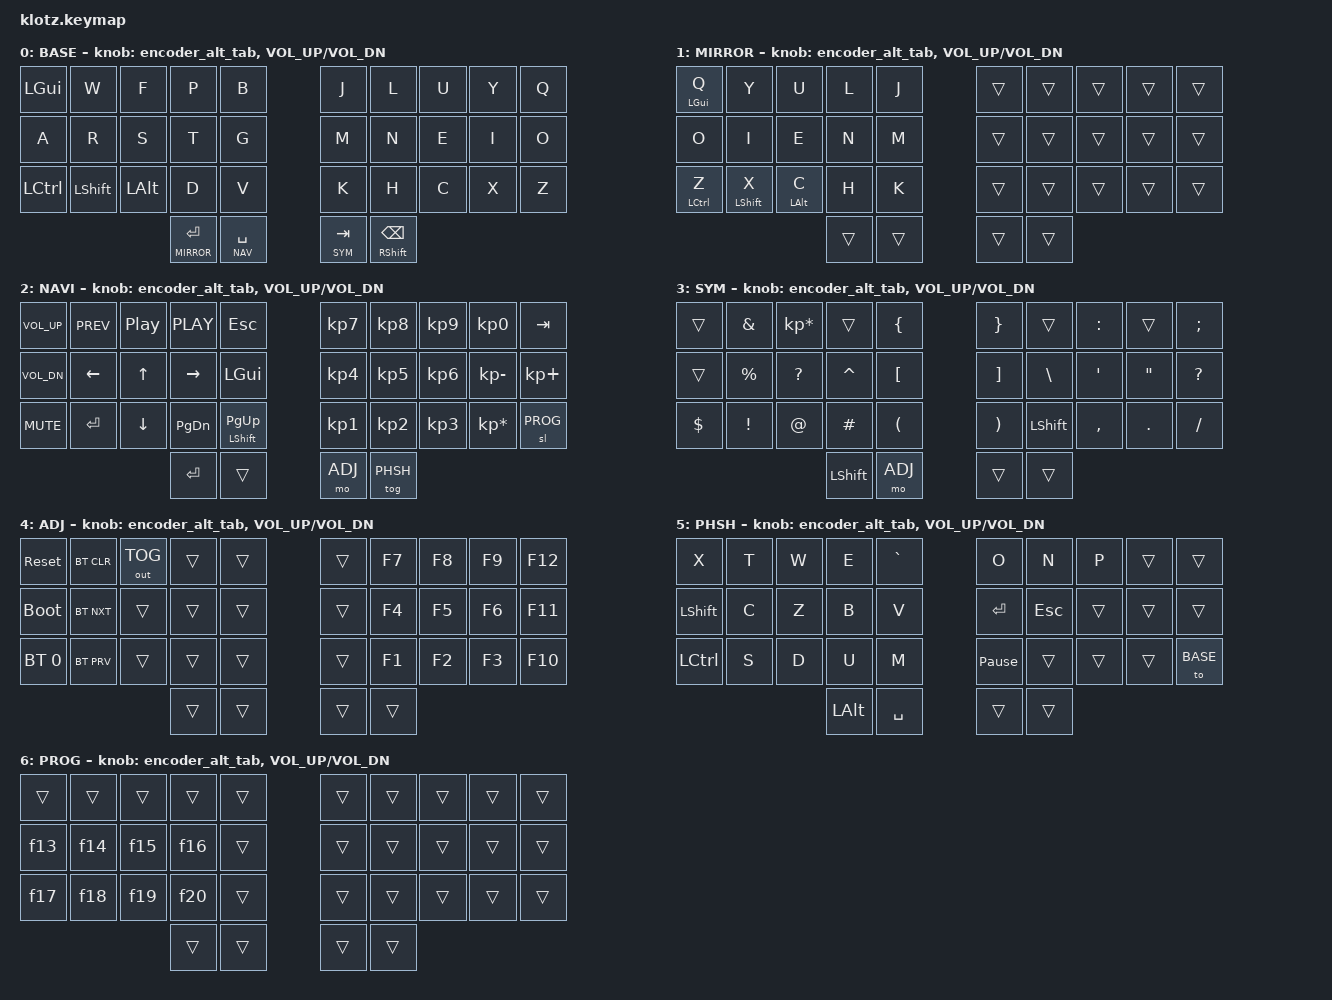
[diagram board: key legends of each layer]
#include <behaviors.dtsi>
#include <dt-bindings/zmk/keys.h>
#include <dt-bindings/zmk/bt.h>
#include <dt-bindings/zmk/outputs.h>

#define BASE 0
#define MIRROR 1
#define NAV  2
#define SYM  3
#define ADJ  4
#define PHSH 5
#define PROG 6

/ {
    combos {
            compatible = "zmk,combos";
            combo_esc {
                timeout-ms = <50>;
                key-positions = <0 1>;
                bindings = <&kp ESC>;
            };
            
            compatible = "zmk,combos";
            combo_bspc {
                timeout-ms = <50>;
                key-positions = <3 4>;
                bindings = <&kp BSPC>;
            };

            compatible = "zmk,combos";
            combo_del {
                timeout-ms = <50>;
                key-positions = <2 3>;
                bindings = <&kp DEL>;
            };

            compatible = "zmk,combos";
            combo_ctrlz {
                timeout-ms = <50>;
                key-positions = <20 21>;
                bindings
                  = <&macro_crtlz>;
            };

            compatible = "zmk,combos";
            combo_ctrlshftz {
                timeout-ms = <50>;
                key-positions = <20 21 22>;
                bindings
                  = <&macro_crtlshftz>;
            };

            compatible = "zmk,combos";
            combo_ctrlx {
                timeout-ms = <50>;
                key-positions = <21 22>;
                bindings
                  = <&macro_crtlx>;
            };

            compatible = "zmk,combos";
            combo_ctrlc {
                timeout-ms = <50>;
                key-positions = <22 23>;
                bindings
                  = <&macro_crtlc>;
            };

            compatible = "zmk,combos";
            combo_ctrlv {
                timeout-ms = <50>;
                key-positions = <21 23>;
                bindings
                  = <&macro_crtlv>;
            };
    };

    macros {
        tabcw: tabcw {
            compatible = "zmk,behavior-macro";
            #binding-cells = <0>;
            bindings
                = <&macro_tap &kp TAB>
                ;
        };
        tabccw: tabccw {
            compatible = "zmk,behavior-macro";
            #binding-cells = <0>;
            bindings
                = <&macro_press &kp LSHFT>
                , <&macro_tap &kp TAB>
                , <&macro_release &kp LSHFT>
                ;
        };
        macro_crtlz: macro_ctrlz {
            compatible = "zmk,behavior-macro";
            #binding-cells = <0>;
            bindings
                = <&macro_press &kp LCTRL>
                , <&macro_tap &kp Z>
                , <&macro_release &kp LCTRL>
                ;
        };
        macro_crtlshftz: macro_ctrlshftz {
            compatible = "zmk,behavior-macro";
            #binding-cells = <0>;
            bindings
                = <&macro_press &kp LCTRL>
                , <&macro_press &kp LSHFT>
                , <&macro_tap &kp Z>
                , <&macro_release &kp LCTRL>
                , <&macro_release &kp LSHFT>
                ;
        };
        macro_crtlx: macro_ctrlx {
            compatible = "zmk,behavior-macro";
            #binding-cells = <0>;
            bindings
                = <&macro_press &kp LCTRL>
                , <&macro_tap &kp X>
                , <&macro_release &kp LCTRL>
                ;
        };
        macro_crtlc: macro_ctrlc {
            compatible = "zmk,behavior-macro";
            #binding-cells = <0>;
            bindings
                = <&macro_press &kp LCTRL>
                , <&macro_tap &kp C>
                , <&macro_release &kp LCTRL>
                ;
        };
        macro_crtlv: macro_ctrlv {
            compatible = "zmk,behavior-macro";
            #binding-cells = <0>;
            bindings
                = <&macro_press &kp LCTRL>
                , <&macro_tap &kp V>
                , <&macro_release &kp LCTRL>
                ;
        };
    };

    behaviors {
        encoder_alt_tab: encoder_alt_tab {
            compatible = "zmk,behavior-sensor-rotate";
            #sensor-binding-cells = <0>;
            bindings = <&tabcw>, <&tabccw>;
        };

        ct: custom_tap {
            compatible = "zmk,behavior-hold-tap";
            #binding-cells = <2>;
            flavor = "balanced";
            bindings = <&kp>, <&kp>;
            tapping-term-ms = <200>;
            quick-tap-ms = <150>;
            require-prior-idle-ms = <100>;
        };
    };


        keymap {
                compatible = "zmk,keymap";
// ▄▄▄▄▄▄▄▄▄▄▄▄▄▄▄▄▄▄▄▄▄▄▄▄▄▄▄▄▄▄▄▄▄▄▄▄▄▄▄▄▄▄▄▄▄▄▄▄▄▄▄▄▄▄▄▄▄▄▄▄▄▄▄▄▄▄▄▄▄▄▄▄▄▄▄▄▄▄▄▄▄▄▄▄▄▄▄▄▄▄▄▄▄▄▄▄▄▄▄▄▄▄▄▄▄▄▄▄▄▄▄▄▄▄▄▄▄▄▄▄▄▄▄▄▄


                base_layer {
// ┏━━━━━━━━━━━━━━━━━━━━━━━━━━━━━━━━━━━━━━━┓
display-name= "BASE"                              ;
// ┗━━━━━━━━━━━━━━━━━━━━━━━━━━━━━━━━━━━━━━━┛
// ┏━━━━━━━━━━━┳━━━━━━━━━━━┳━━━━━━━━━━━┳━━━━━━━━━━━┳━━━━━━━━━━━┓   ┏━━━━━━━━━━━┳━━━━━━━━━━━┳━━━━━━━━━━━┳━━━━━━━━━━━┳━━━━━━━━━━━┓
// ┃    LGUI   ┃     W     ┃     F     ┃     P     ┃     B     ┃   ┃     J     ┃     L     ┃     U     ┃     Y     ┃     Q     ┃
// ┣━━━━━━━━━━━╋━━━━━━━━━━━╋━━━━━━━━━━━╋━━━━━━━━━━━╋━━━━━━━━━━━┫   ┣━━━━━━━━━━━╋━━━━━━━━━━━╋━━━━━━━━━━━╋━━━━━━━━━━━╋━━━━━━━━━━━┫
// ┃     A     ┃     R     ┃     S     ┃     T     ┃     G     ┃   ┃     M     ┃     N     ┃     E     ┃     I     ┃     O     ┃
// ┣━━━━━━━━━━━╋━━━━━━━━━━━╋━━━━━━━━━━━╋━━━━━━━━━━━╋━━━━━━━━━━━┫   ┣━━━━━━━━━━━╋━━━━━━━━━━━╋━━━━━━━━━━━╋━━━━━━━━━━━╋━━━━━━━━━━━┫
// ┃   LCTRL   ┃   LSHFT   ┃   LALT    ┃     D     ┃     V     ┃   ┃     K     ┃     H     ┃     C     ┃     X     ┃     Z     ┃
// ┗━━━━━━━━━━━┻━━━━━━━━━━━┻━━━━━━━━━━━╋━━━━━━━━━━━╋━━━━━━━━━━━┫   ┣━━━━━━━━━━━╋━━━━━━━━━━━╋━━━━━━━━━━━┻━━━━━━━━━━━┻━━━━━━━━━━━┛
//                                     ┃   ENTER   ┃    SPC    ┃   ┃    TAB    ┃   BSPC    ┃
//                                     ┗━━━━━━━━━━━┻━━━━━━━━━━━┛   ┗━━━━━━━━━━━┻━━━━━━━━━━━┛
 bindings = <
// ╷          ╷           ╷           ╷           ╷           ╷   ╷           ╷           ╷           ╷           ╷           ╷

    &kp LGUI   &kp W       &kp F       &kp P       &kp B           &kp J       &kp L       &kp U       &kp Y       &kp Q
    &kp A      &kp R       &kp S       &kp T       &kp G           &kp M       &kp N       &kp E       &kp I       &kp O
    &kp LCTRL  &kp LSHFT   &kp LALT    &kp D       &kp V           &kp K       &kp H       &kp C       &kp X       &kp Z
                                       &lt MIRROR RET &lt NAV SPACE &lt SYM TAB &ct RSHFT BSPC    
                        >;
            sensor-bindings = <&encoder_alt_tab &inc_dec_kp C_VOL_UP C_VOL_DN>;
                };

// ▄▄▄▄▄▄▄▄▄▄▄▄▄▄▄▄▄▄▄▄▄▄▄▄▄▄▄▄▄▄▄▄▄▄▄▄▄▄▄▄▄▄▄▄▄▄▄▄▄▄▄▄▄▄▄▄▄▄▄▄▄▄▄▄▄▄▄▄▄▄▄▄▄▄▄▄▄▄▄▄▄▄▄▄▄▄▄▄▄▄▄▄▄▄▄▄▄▄▄▄▄▄▄▄▄▄▄▄▄▄▄▄▄▄▄▄▄▄▄▄▄▄▄▄▄


                mirror_layer {
// ┏━━━━━━━━━━━━━━━━━━━━━━━━━━━━━━━━━━━━━━━┓
display-name= "MIRROR"                              ;
// ┗━━━━━━━━━━━━━━━━━━━━━━━━━━━━━━━━━━━━━━━┛
// ┏━━━━━━━━━━━┳━━━━━━━━━━━┳━━━━━━━━━━━┳━━━━━━━━━━━┳━━━━━━━━━━━┓   ┏━━━━━━━━━━━┳━━━━━━━━━━━┳━━━━━━━━━━━┳━━━━━━━━━━━┳━━━━━━━━━━━┓
// ┃     Q     ┃     Y     ┃     U     ┃     L     ┃     J     ┃   ┃           ┃           ┃           ┃           ┃           ┃
// ┣━━━━━━━━━━━╋━━━━━━━━━━━╋━━━━━━━━━━━╋━━━━━━━━━━━╋━━━━━━━━━━━┫   ┣━━━━━━━━━━━╋━━━━━━━━━━━╋━━━━━━━━━━━╋━━━━━━━━━━━╋━━━━━━━━━━━┫
// ┃     O     ┃     I     ┃     E     ┃     N     ┃     M     ┃   ┃           ┃           ┃           ┃           ┃           ┃
// ┣━━━━━━━━━━━╋━━━━━━━━━━━╋━━━━━━━━━━━╋━━━━━━━━━━━╋━━━━━━━━━━━┫   ┣━━━━━━━━━━━╋━━━━━━━━━━━╋━━━━━━━━━━━╋━━━━━━━━━━━╋━━━━━━━━━━━┫
// ┃     Z     ┃     X     ┃     C     ┃     H     ┃     K     ┃   ┃           ┃           ┃           ┃           ┃           ┃
// ┗━━━━━━━━━━━┻━━━━━━━━━━━┻━━━━━━━━━━━╋━━━━━━━━━━━╋━━━━━━━━━━━┫   ┣━━━━━━━━━━━╋━━━━━━━━━━━╋━━━━━━━━━━━┻━━━━━━━━━━━┻━━━━━━━━━━━┛
//                                     ┃           ┃           ┃   ┃           ┃           ┃
//                                     ┗━━━━━━━━━━━┻━━━━━━━━━━━┛   ┗━━━━━━━━━━━┻━━━━━━━━━━━┛
 bindings = <
// ╷          ╷           ╷           ╷           ╷           ╷   ╷           ╷           ╷           ╷           ╷           ╷

    &ct LGUI Q &kp Y       &kp U       &kp L       &kp J           &trans      &trans      &trans      &trans      &trans
    &kp O      &kp I       &kp E       &kp N       &kp M           &trans      &trans      &trans      &trans      &trans
    &ct LCTRL Z &ct LSHFT X &ct LALT C &kp H       &kp K           &trans      &trans      &trans      &trans      &trans
                                       &trans      &trans          &trans      &trans
                        >;
            sensor-bindings = <&encoder_alt_tab &inc_dec_kp C_VOL_UP C_VOL_DN>;
                };

// ▄▄▄▄▄▄▄▄▄▄▄▄▄▄▄▄▄▄▄▄▄▄▄▄▄▄▄▄▄▄▄▄▄▄▄▄▄▄▄▄▄▄▄▄▄▄▄▄▄▄▄▄▄▄▄▄▄▄▄▄▄▄▄▄▄▄▄▄▄▄▄▄▄▄▄▄▄▄▄▄▄▄▄▄▄▄▄▄▄▄▄▄▄▄▄▄▄▄▄▄▄▄▄▄▄▄▄▄▄▄▄▄▄▄▄▄▄▄▄▄▄▄▄▄▄


                nav_layer {
// ┏━━━━━━━━━━━━━━━━━━━━━━━━━━━━━━━━━━━━━━━┓
display-name= "NAVI"                              ;
// ┗━━━━━━━━━━━━━━━━━━━━━━━━━━━━━━━━━━━━━━━┛
// ┏━━━━━━━━━━━┳━━━━━━━━━━━┳━━━━━━━━━━━┳━━━━━━━━━━━┳━━━━━━━━━━━┓   ┏━━━━━━━━━━━┳━━━━━━━━━━━┳━━━━━━━━━━━┳━━━━━━━━━━━┳━━━━━━━━━━━┓
// ┃  VOL UP   ┃   PREV    ┃PLAY/PAUSE ┃   NEXT    ┃   ESC     ┃   ┃     7     ┃     8     ┃     9     ┃     0     ┃    TAB    ┃
// ┣━━━━━━━━━━━╋━━━━━━━━━━━╋━━━━━━━━━━━╋━━━━━━━━━━━╋━━━━━━━━━━━┫   ┣━━━━━━━━━━━╋━━━━━━━━━━━╋━━━━━━━━━━━╋━━━━━━━━━━━╋━━━━━━━━━━━┫
// ┃  VOL DOWN ┃   LEFT    ┃    UP     ┃   RIGHT   ┃   LGUI    ┃   ┃     4     ┃     5     ┃     6     ┃    - _    ┃    + =    ┃
// ┣━━━━━━━━━━━╋━━━━━━━━━━━╋━━━━━━━━━━━╋━━━━━━━━━━━╋━━━━━━━━━━━┫   ┣━━━━━━━━━━━╋━━━━━━━━━━━╋━━━━━━━━━━━╋━━━━━━━━━━━╋━━━━━━━━━━━┫
// ┃   MUTE    ┃   ENTER   ┃   DOWN    ┃  P DOWN   ┃   P UP    ┃   ┃     1     ┃     2     ┃     3     ┃     *     ┃   PROG    ┃
// ┗━━━━━━━━━━━┻━━━━━━━━━━━┻━━━━━━━━━━━╋━━━━━━━━━━━╋━━━━━━━━━━━┫   ┣━━━━━━━━━━━╋━━━━━━━━━━━╋━━━━━━━━━━━┻━━━━━━━━━━━┻━━━━━━━━━━━┛
//                                     ┃   ENTER   ┃           ┃   ┃  ADJUST   ┃   PHSH    ┃  
//                                     ┗━━━━━━━━━━━┻━━━━━━━━━━━┛   ┗━━━━━━━━━━━┻━━━━━━━━━━━┛
 bindings = <
// ╷           ╷           ╷           ╷           ╷           ╷   ╷           ╷           ╷           ╷           ╷           ╷

    &kp C_VOL_UP &kp C_PREV &kp C_PP    &kp C_PLAY  &kp ESC         &kp KP_N7   &kp KP_N8   &kp KP_N9   &kp KP_N0    &kp TAB
    &kp C_VOL_DN &kp LEFT   &kp UP      &kp RIGHT   &kp LGUI        &kp KP_N4   &kp KP_N5   &kp KP_N6   &kp KP_MINUS &kp KP_PLUS
    &kp C_MUTE   &kp RET    &kp DOWN    &kp PG_DN   &ct LSHFT PG_UP &kp KP_N1   &kp KP_N2   &kp KP_N3   &kp KP_MULTIPLY &sl PROG
                                        &kp RET     &trans          &mo ADJ     &tog PHSH     
                        >;
            sensor-bindings = <&encoder_alt_tab &inc_dec_kp C_VOL_UP C_VOL_DN>;
                };

// ▄▄▄▄▄▄▄▄▄▄▄▄▄▄▄▄▄▄▄▄▄▄▄▄▄▄▄▄▄▄▄▄▄▄▄▄▄▄▄▄▄▄▄▄▄▄▄▄▄▄▄▄▄▄▄▄▄▄▄▄▄▄▄▄▄▄▄▄▄▄▄▄▄▄▄▄▄▄▄▄▄▄▄▄▄▄▄▄▄▄▄▄▄▄▄▄▄▄▄▄▄▄▄▄▄▄▄▄▄▄▄▄▄▄▄▄▄▄▄▄▄▄▄▄▄


                sim_layer {
// ┏━━━━━━━━━━━━━━━━━━━━━━━━━━━━━━━━━━━━━━━┓
display-name= "SYM"                               ;
// ┗━━━━━━━━━━━━━━━━━━━━━━━━━━━━━━━━━━━━━━━┛
// ┏━━━━━━━━━━━┳━━━━━━━━━━━┳━━━━━━━━━━━┳━━━━━━━━━━━┳━━━━━━━━━━━┓   ┏━━━━━━━━━━━┳━━━━━━━━━━━┳━━━━━━━━━━━┳━━━━━━━━━━━┳━━━━━━━━━━━┓
// ┃           ┃     &     ┃     *     ┃           ┃     {     ┃   ┃     }     ┃           ┃     :     ┃           ┃     ;     ┃
// ┣━━━━━━━━━━━╋━━━━━━━━━━━╋━━━━━━━━━━━╋━━━━━━━━━━━╋━━━━━━━━━━━┫   ┣━━━━━━━━━━━╋━━━━━━━━━━━╋━━━━━━━━━━━╋━━━━━━━━━━━╋━━━━━━━━━━━┫
// ┃           ┃     %     ┃     ?     ┃     ^     ┃     [     ┃   ┃     ]     ┃    \ |    ┃     '     ┃    "      ┃     ?     ┃
// ┣━━━━━━━━━━━╋━━━━━━━━━━━╋━━━━━━━━━━━╋━━━━━━━━━━━╋━━━━━━━━━━━┫   ┣━━━━━━━━━━━╋━━━━━━━━━━━╋━━━━━━━━━━━╋━━━━━━━━━━━╋━━━━━━━━━━━┫
// ┃     $     ┃     !     ┃     @     ┃     #     ┃     (     ┃   ┃     )     ┃           ┃     ,     ┃     .     ┃     /     ┃
// ┗━━━━━━━━━━━┻━━━━━━━━━━━┻━━━━━━━━━━━╋━━━━━━━━━━━╋━━━━━━━━━━━┫   ┣━━━━━━━━━━━╋━━━━━━━━━━━╋━━━━━━━━━━━┻━━━━━━━━━━━┻━━━━━━━━━━━┛
//                                     ┃   LSHFT   ┃  ADJUST   ┃   ┃           ┃           ┃   
//                                     ┗━━━━━━━━━━━┻━━━━━━━━━━━┛   ┗━━━━━━━━━━━┻━━━━━━━━━━━┛
 bindings = <
// ╷           ╷           ╷           ╷           ╷           ╷   ╷           ╷           ╷           ╷           ╷           ╷

    &trans      &kp AMPS    &kp KP_MULTIPLY &trans  &kp LBRC        &kp RBRC    &trans      &kp COLON   &trans      &kp SEMI        
    &trans      &kp PRCNT   &kp QMARK   &kp CARET   &kp LBKT        &kp RBKT    &kp BSLH    &kp SQT     &kp DQT     &kp QMARK
    &kp DLLR    &kp EXCL    &kp AT      &kp HASH    &kp LPAR        &kp RPAR    &kp LSHFT   &kp COMMA   &kp DOT     &kp FSLH
                                        &kp LSHFT   &mo ADJ         &trans      &trans      
                        >;
            sensor-bindings = <&encoder_alt_tab &inc_dec_kp C_VOL_UP C_VOL_DN>;
                };

// ▄▄▄▄▄▄▄▄▄▄▄▄▄▄▄▄▄▄▄▄▄▄▄▄▄▄▄▄▄▄▄▄▄▄▄▄▄▄▄▄▄▄▄▄▄▄▄▄▄▄▄▄▄▄▄▄▄▄▄▄▄▄▄▄▄▄▄▄▄▄▄▄▄▄▄▄▄▄▄▄▄▄▄▄▄▄▄▄▄▄▄▄▄▄▄▄▄▄▄▄▄▄▄▄▄▄▄▄▄▄▄▄▄▄▄▄▄▄▄▄▄▄▄▄▄


                adjust_layer {
// ┏━━━━━━━━━━━━━━━━━━━━━━━━━━━━━━━━━━━━━━━┓
display-name= "ADJ"                               ;
// ┗━━━━━━━━━━━━━━━━━━━━━━━━━━━━━━━━━━━━━━━┛
// ┏━━━━━━━━━━━┳━━━━━━━━━━━┳━━━━━━━━━━━┳━━━━━━━━━━━┳━━━━━━━━━━━┓   ┏━━━━━━━━━━━┳━━━━━━━━━━━┳━━━━━━━━━━━┳━━━━━━━━━━━┳━━━━━━━━━━━┓
// ┃   RESET   ┃ BT CLEAR  ┃  OUT TOG  ┃           ┃           ┃   ┃           ┃    F7     ┃    F8     ┃    F9     ┃    F12    ┃
// ┣━━━━━━━━━━━╋━━━━━━━━━━━╋━━━━━━━━━━━╋━━━━━━━━━━━╋━━━━━━━━━━━┫   ┣━━━━━━━━━━━╋━━━━━━━━━━━╋━━━━━━━━━━━╋━━━━━━━━━━━╋━━━━━━━━━━━┫
// ┃ BOOTLOAD  ┃ BT NEXT   ┃           ┃           ┃           ┃   ┃           ┃    F4     ┃    F5     ┃    F6     ┃    F11    ┃
// ┣━━━━━━━━━━━╋━━━━━━━━━━━╋━━━━━━━━━━━╋━━━━━━━━━━━╋━━━━━━━━━━━┫   ┣━━━━━━━━━━━╋━━━━━━━━━━━╋━━━━━━━━━━━╋━━━━━━━━━━━╋━━━━━━━━━━━┫
// ┃  BT 0     ┃ BT PREV   ┃           ┃           ┃           ┃   ┃           ┃    F1     ┃    F2     ┃    F3     ┃    F10    ┃
// ┗━━━━━━━━━━━┻━━━━━━━━━━━┻━━━━━━━━━━━╋━━━━━━━━━━━╋━━━━━━━━━━━┫   ┣━━━━━━━━━━━╋━━━━━━━━━━━╋━━━━━━━━━━━┻━━━━━━━━━━━┻━━━━━━━━━━━┛
//                                     ┃           ┃           ┃   ┃           ┃           ┃
//                                     ┗━━━━━━━━━━━┻━━━━━━━━━━━┛   ┗━━━━━━━━━━━┻━━━━━━━━━━━┛
 bindings = <
// ╷           ╷           ╷           ╷           ╷           ╷   ╷           ╷           ╷           ╷           ╷           ╷

    &sys_reset  &bt BT_CLR  &out OUT_TOG &trans     &trans          &trans      &kp F7      &kp F8      &kp F9      &kp F12
    &bootloader &bt BT_NXT  &trans      &trans      &trans          &trans      &kp F4      &kp F5      &kp F6      &kp F11  
    &bt BT_SEL 0 &bt BT_PRV &trans      &trans      &trans          &trans      &kp F1      &kp F2      &kp F3      &kp F10     
                                        &trans      &trans          &trans      &trans
                        >;
            sensor-bindings = <&encoder_alt_tab &inc_dec_kp C_VOL_UP C_VOL_DN>;
                };

// ▄▄▄▄▄▄▄▄▄▄▄▄▄▄▄▄▄▄▄▄▄▄▄▄▄▄▄▄▄▄▄▄▄▄▄▄▄▄▄▄▄▄▄▄▄▄▄▄▄▄▄▄▄▄▄▄▄▄▄▄▄▄▄▄▄▄▄▄▄▄▄▄▄▄▄▄▄▄▄▄▄▄▄▄▄▄▄▄▄▄▄▄▄▄▄▄▄▄▄▄▄▄▄▄▄▄▄▄▄▄▄▄▄▄▄▄▄▄▄▄▄▄▄▄▄


                photoshop_layer {
// ┏━━━━━━━━━━━━━━━━━━━━━━━━━━━━━━━━━━━━━━━┓
display-name= "PHSH"                               ;
// ┗━━━━━━━━━━━━━━━━━━━━━━━━━━━━━━━━━━━━━━━┛
// ┏━━━━━━━━━━━┳━━━━━━━━━━━┳━━━━━━━━━━━┳━━━━━━━━━━━┳━━━━━━━━━━━┓   ┏━━━━━━━━━━━┳━━━━━━━━━━━┳━━━━━━━━━━━┳━━━━━━━━━━━┳━━━━━━━━━━━┓
// ┃     X     ┃     T     ┃     W     ┃     E     ┃   TILDE   ┃   ┃     O     ┃     N     ┃     P     ┃           ┃           ┃
// ┣━━━━━━━━━━━╋━━━━━━━━━━━╋━━━━━━━━━━━╋━━━━━━━━━━━╋━━━━━━━━━━━┫   ┣━━━━━━━━━━━╋━━━━━━━━━━━╋━━━━━━━━━━━╋━━━━━━━━━━━╋━━━━━━━━━━━┫
// ┃   LSHFT   ┃     C     ┃     Z     ┃     B     ┃     V     ┃   ┃   ENTER   ┃    ESC    ┃           ┃           ┃           ┃
// ┣━━━━━━━━━━━╋━━━━━━━━━━━╋━━━━━━━━━━━╋━━━━━━━━━━━╋━━━━━━━━━━━┫   ┣━━━━━━━━━━━╋━━━━━━━━━━━╋━━━━━━━━━━━╋━━━━━━━━━━━╋━━━━━━━━━━━┫
// ┃   CTRL    ┃     S     ┃     D     ┃     U     ┃     M     ┃   ┃  PBREAK   ┃           ┃           ┃           ┃   BASE    ┃
// ┗━━━━━━━━━━━┻━━━━━━━━━━━┻━━━━━━━━━━━╋━━━━━━━━━━━╋━━━━━━━━━━━┫   ┣━━━━━━━━━━━╋━━━━━━━━━━━╋━━━━━━━━━━━┻━━━━━━━━━━━┻━━━━━━━━━━━┛
//                                     ┃   LALT    ┃   SPACE   ┃   ┃           ┃           ┃
//                                     ┗━━━━━━━━━━━┻━━━━━━━━━━━┛   ┗━━━━━━━━━━━┻━━━━━━━━━━━┛
 bindings = <
// ╷           ╷           ╷           ╷           ╷           ╷   ╷           ╷           ╷           ╷           ╷           ╷

    &kp X       &kp T       &kp W       &kp E       &kp GRAVE       &kp O       &kp N       &kp P       &trans      &trans
    &kp LSHFT   &kp C       &kp Z       &kp B       &kp V           &kp ENTER   &kp ESC     &trans      &trans      &trans  
    &kp LCTRL   &kp S       &kp D       &kp U       &kp M           &kp PAUSE_BREAK &trans  &trans      &trans      &to BASE     
                                        &kp LALT    &kp SPACE       &trans      &trans
                        >;
            sensor-bindings = <&encoder_alt_tab &inc_dec_kp C_VOL_UP C_VOL_DN>;
                };

// ▄▄▄▄▄▄▄▄▄▄▄▄▄▄▄▄▄▄▄▄▄▄▄▄▄▄▄▄▄▄▄▄▄▄▄▄▄▄▄▄▄▄▄▄▄▄▄▄▄▄▄▄▄▄▄▄▄▄▄▄▄▄▄▄▄▄▄▄▄▄▄▄▄▄▄▄▄▄▄▄▄▄▄▄▄▄▄▄▄▄▄▄▄▄▄▄▄▄▄▄▄▄▄▄▄▄▄▄▄▄▄▄▄▄▄▄▄▄▄▄▄▄▄▄▄


                prog_layer {
// ┏━━━━━━━━━━━━━━━━━━━━━━━━━━━━━━━━━━━━━━━┓
display-name= "PROG"                               ;
// ┗━━━━━━━━━━━━━━━━━━━━━━━━━━━━━━━━━━━━━━━┛
// ┏━━━━━━━━━━━┳━━━━━━━━━━━┳━━━━━━━━━━━┳━━━━━━━━━━━┳━━━━━━━━━━━┓   ┏━━━━━━━━━━━┳━━━━━━━━━━━┳━━━━━━━━━━━┳━━━━━━━━━━━┳━━━━━━━━━━━┓
// ┃           ┃           ┃           ┃           ┃           ┃   ┃           ┃           ┃           ┃           ┃           ┃
// ┣━━━━━━━━━━━╋━━━━━━━━━━━╋━━━━━━━━━━━╋━━━━━━━━━━━╋━━━━━━━━━━━┫   ┣━━━━━━━━━━━╋━━━━━━━━━━━╋━━━━━━━━━━━╋━━━━━━━━━━━╋━━━━━━━━━━━┫
// ┃           ┃           ┃           ┃           ┃           ┃   ┃           ┃           ┃           ┃           ┃           ┃
// ┣━━━━━━━━━━━╋━━━━━━━━━━━╋━━━━━━━━━━━╋━━━━━━━━━━━╋━━━━━━━━━━━┫   ┣━━━━━━━━━━━╋━━━━━━━━━━━╋━━━━━━━━━━━╋━━━━━━━━━━━╋━━━━━━━━━━━┫
// ┃           ┃           ┃           ┃           ┃           ┃   ┃           ┃           ┃           ┃           ┃           ┃
// ┗━━━━━━━━━━━┻━━━━━━━━━━━┻━━━━━━━━━━━╋━━━━━━━━━━━╋━━━━━━━━━━━┫   ┣━━━━━━━━━━━╋━━━━━━━━━━━╋━━━━━━━━━━━┻━━━━━━━━━━━┻━━━━━━━━━━━┛
//                                     ┃           ┃           ┃   ┃           ┃           ┃
//                                     ┗━━━━━━━━━━━┻━━━━━━━━━━━┛   ┗━━━━━━━━━━━┻━━━━━━━━━━━┛
 bindings = <
// ╷           ╷           ╷           ╷           ╷           ╷   ╷           ╷           ╷           ╷           ╷           ╷

    &trans      &trans      &trans      &trans      &trans          &trans      &trans      &trans      &trans      &trans
    &kp f13     &kp f14     &kp f15     &kp f16     &trans          &trans      &trans      &trans      &trans      &trans
    &kp f17     &kp f18     &kp f19     &kp f20     &trans          &trans      &trans      &trans      &trans      &trans
                                        &trans      &trans          &trans      &trans
                        >;
            sensor-bindings = <&encoder_alt_tab &inc_dec_kp C_VOL_UP C_VOL_DN>;
                };
        };
};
